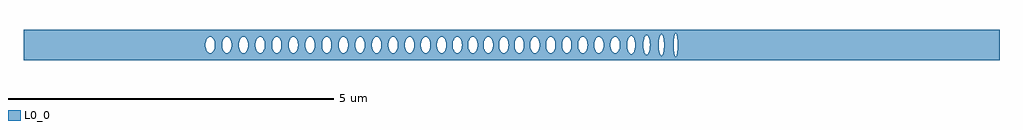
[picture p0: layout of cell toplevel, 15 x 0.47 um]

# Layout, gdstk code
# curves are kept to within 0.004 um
import gdstk
lib = gdstk.Library(unit=1e-6, precision=1e-09)
def P(c, l, *ps):  # polygons
    for p in ps: c.add(gdstk.Polygon(p, *l))
L0_0 = (0, 0)

toplevel = lib.new_cell('toplevel')
P(toplevel, L0_0, [(-4.189,0.032),(-4.178,0.075),(-4.162,0.103),(-4.162,0.234),(-7.5,0.234),(-7.5,-0.016),(-4.703,-0.016),(-4.701,0.032),(-4.69,0.075),(-4.666,0.112),(-4.631,0.128),(-4.604,0.119),(-4.581,0.093),(-4.562,0.039),(-4.559,0),(-4.448,0),(-4.441,0.054),(-4.425,0.093),(-4.402,0.119),(-4.375,0.128),(-4.348,0.119),(-4.329,0.098),(-4.314,0.068),(-4.303,0.016),(-4.306,-0.039),(-4.319,-0.081),(-4.348,-0.119),(-4.375,-0.128),(-4.402,-0.119),(-4.425,-0.093),(-4.441,-0.054),(-4.448,0),(-4.559,0),(-4.562,-0.039),(-4.581,-0.093),(-4.604,-0.119),(-4.631,-0.128),(-4.658,-0.119),(-4.681,-0.093),(-4.697,-0.054),(-4.703,-0.016),(-7.5,-0.016),(-7.5,-0.234),(-4.162,-0.234),(-4.162,-0.103),(-4.187,-0.047),(-4.192,-0.008)],
  [(-3.679,0.016),(-3.669,0.068),(-3.646,0.108),(-3.621,0.125),(-3.59,0.123),(-3.59,0.234),(-4.162,0.234),(-4.162,0.103),(-4.146,0.119),(-4.119,0.128),(-4.084,0.112),(-4.058,0.068),(-4.047,-0.008),(-3.936,-0.008),(-3.931,0.047),(-3.913,0.093),(-3.89,0.119),(-3.863,0.128),(-3.837,0.119),(-3.817,0.098),(-3.802,0.068),(-3.791,0.008),(-3.796,-0.047),(-3.814,-0.093),(-3.837,-0.119),(-3.863,-0.128),(-3.89,-0.119),(-3.91,-0.098),(-3.925,-0.068),(-3.936,-0.008),(-4.047,-0.008),(-4.058,-0.068),(-4.084,-0.112),(-4.119,-0.128),(-4.146,-0.119),(-4.162,-0.103),(-4.162,-0.234),(-3.59,-0.234),(-3.59,-0.123),(-3.621,-0.125),(-3.654,-0.098),(-3.675,-0.047)],
  [(-3.59,0.234),(-3.59,0.123),(-3.569,0.108),(-3.546,0.068),(-3.535,-0.008),(-3.424,-0.008),(-3.421,0.039),(-3.401,0.093),(-3.378,0.119),(-3.352,0.128),(-3.325,0.119),(-3.302,0.093),(-3.284,0.047),(-3.279,0.008),(-3.284,-0.047),(-3.302,-0.093),(-3.325,-0.119),(-3.352,-0.128),(-3.378,-0.119),(-3.398,-0.098),(-3.413,-0.068),(-3.424,-0.008),(-3.535,-0.008),(-3.549,-0.075),(-3.569,-0.108),(-3.59,-0.123),(-3.59,-0.234),(-3.028,-0.234),(-3.028,-0.048),(-3.057,-0.108),(-3.082,-0.125),(-3.105,-0.126),(-3.131,-0.112),(-3.149,-0.087),(-3.168,-0.016),(-3.165,0.039),(-3.152,0.081),(-3.135,0.108),(-3.114,0.123),(-3.091,0.127),(-3.061,0.112),(-3.046,0.093),(-3.028,0.047),(-3.028,0.234)],
  [(-2.374,-0.234),(-2.374,-0.098),(-2.396,-0.047),(-2.401,0),(-2.396,0.047),(-2.374,0.098),(-2.374,0.234),(-3.028,0.234),(-3.024,-0.016),(-2.912,-0.016),(-2.91,0.032),(-2.899,0.075),(-2.875,0.112),(-2.84,0.128),(-2.813,0.119),(-2.79,0.093),(-2.774,0.054),(-2.768,-0.016),(-2.656,-0.016),(-2.654,0.032),(-2.643,0.075),(-2.619,0.112),(-2.584,0.128),(-2.557,0.119),(-2.534,0.093),(-2.512,0.016),(-2.514,-0.032),(-2.525,-0.075),(-2.549,-0.112),(-2.584,-0.128),(-2.611,-0.119),(-2.634,-0.093),(-2.648,-0.061),(-2.656,-0.016),(-2.768,-0.016),(-2.774,-0.054),(-2.79,-0.093),(-2.813,-0.119),(-2.84,-0.128),(-2.867,-0.119),(-2.886,-0.098),(-2.899,-0.075),(-2.912,-0.016),(-3.024,-0.016),(-3.028,-0.234)],
  [(-1.889,0.032),(-1.88,0.068),(-1.858,0.108),(-1.832,0.125),(-1.81,0.126),(-1.81,0.234),(-2.374,0.234),(-2.374,0.098),(-2.355,0.119),(-2.328,0.128),(-2.293,0.112),(-2.267,0.068),(-2.258,0.032),(-2.256,-0.016),(-2.145,-0.016),(-2.142,0.039),(-2.129,0.081),(-2.108,0.112),(-2.073,0.128),(-2.046,0.119),(-2.023,0.093),(-2.005,0.047),(-2,0.008),(-2.005,-0.047),(-2.023,-0.093),(-2.046,-0.119),(-2.073,-0.128),(-2.099,-0.119),(-2.119,-0.098),(-2.134,-0.068),(-2.145,-0.016),(-2.256,-0.016),(-2.272,-0.081),(-2.302,-0.119),(-2.328,-0.128),(-2.342,-0.125),(-2.374,-0.098),(-2.374,-0.234),(-1.81,-0.234),(-1.81,-0.126),(-1.845,-0.119),(-1.868,-0.093),(-1.888,-0.039)],
  [(-1.81,0.234),(-1.81,0.126),(-1.78,0.108),(-1.76,0.075),(-1.751,0.047),(-1.746,-0.008),(-1.64,-0.008),(-1.635,0.047),(-1.617,0.093),(-1.594,0.119),(-1.567,0.128),(-1.541,0.119),(-1.521,0.098),(-1.506,0.068),(-1.495,0.016),(-1.498,-0.039),(-1.511,-0.081),(-1.532,-0.112),(-1.567,-0.128),(-1.594,-0.119),(-1.617,-0.093),(-1.635,-0.047),(-1.64,-0.008),(-1.746,-0.008),(-1.751,-0.047),(-1.769,-0.093),(-1.792,-0.119),(-1.81,-0.126),(-1.81,-0.234),(-1.25,-0.234),(-1.25,-0.039),(-1.26,-0.075),(-1.276,-0.103),(-1.292,-0.119),(-1.319,-0.128),(-1.346,-0.119),(-1.369,-0.093),(-1.391,-0.016),(-1.389,0.032),(-1.378,0.075),(-1.358,0.108),(-1.333,0.125),(-1.305,0.125),(-1.28,0.108),(-1.26,0.075),(-1.25,0.039),(-1.25,0.234)],
  [(-1.249,-0.032),(-1.25,-0.234),(-0.655,-0.234),(-0.655,-0.068),(-0.666,-0.008),(-0.655,0.068),(-0.655,0.234),(-1.25,0.234),(-1.247,0),(-1.147,0),(-1.14,0.054),(-1.124,0.093),(-1.101,0.119),(-1.074,0.128),(-1.048,0.119),(-1.021,0.087),(-1.005,0.039),(-1.002,-0.008),(-0.905,-0.008),(-0.9,0.047),(-0.879,0.098),(-0.846,0.125),(-0.833,0.128),(-0.806,0.119),(-0.786,0.098),(-0.771,0.068),(-0.76,-0.008),(-0.774,-0.075),(-0.786,-0.098),(-0.81,-0.121),(-0.833,-0.128),(-0.859,-0.119),(-0.871,-0.108),(-0.894,-0.068),(-0.905,-0.008),(-1.002,-0.008),(-1.005,-0.039),(-1.021,-0.087),(-1.048,-0.119),(-1.074,-0.128),(-1.101,-0.119),(-1.124,-0.093),(-1.14,-0.054),(-1.147,0),(-1.247,0)],
  [(-0.19,0.016),(-0.18,0.068),(-0.165,0.098),(-0.145,0.119),(-0.119,0.128),(-0.119,0.234),(-0.655,0.234),(-0.655,0.068),(-0.64,0.098),(-0.62,0.119),(-0.593,0.128),(-0.567,0.119),(-0.547,0.098),(-0.532,0.068),(-0.522,0.024),(-0.522,-0.016),(-0.428,-0.016),(-0.425,0.039),(-0.412,0.081),(-0.391,0.112),(-0.356,0.128),(-0.329,0.119),(-0.306,0.093),(-0.29,0.054),(-0.283,0),(-0.29,-0.054),(-0.306,-0.093),(-0.329,-0.119),(-0.356,-0.128),(-0.382,-0.119),(-0.402,-0.098),(-0.417,-0.068),(-0.428,-0.016),(-0.522,-0.016),(-0.526,-0.047),(-0.544,-0.093),(-0.567,-0.119),(-0.584,-0.126),(-0.62,-0.119),(-0.64,-0.098),(-0.655,-0.068),(-0.655,-0.234),(-0.119,-0.234),(-0.119,-0.128),(-0.153,-0.112),(-0.177,-0.075),(-0.189,-0.032)],
  [(0.288,0.016),(0.301,0.075),(0.333,0.119),(0.36,0.128),(0.373,0.125),(0.395,0.112),(0.409,0.093),(0.409,0.234),(-0.119,0.234),(-0.119,0.128),(-0.092,0.119),(-0.069,0.093),(-0.051,0.047),(-0.046,-0.008),(0.047,-0.008),(0.052,0.047),(0.07,0.093),(0.093,0.119),(0.119,0.128),(0.146,0.119),(0.166,0.098),(0.183,0.061),(0.192,0.008),(0.187,-0.047),(0.169,-0.093),(0.146,-0.119),(0.119,-0.128),(0.093,-0.119),(0.073,-0.098),(0.058,-0.068),(0.047,-0.008),(-0.046,-0.008),(-0.057,-0.068),(-0.072,-0.098),(-0.092,-0.119),(-0.119,-0.128),(-0.119,-0.234),(0.409,-0.234),(0.409,-0.093),(0.395,-0.112),(0.369,-0.126),(0.346,-0.125),(0.325,-0.112),(0.296,-0.061)],
  [(1.025,0.016),(1.035,0.068),(1.035,0.234),(0.409,0.234),(0.409,0.093),(0.429,0.039),(0.432,-0.008),(0.531,-0.008),(0.536,0.047),(0.554,0.093),(0.577,0.119),(0.604,0.128),(0.63,0.119),(0.653,0.093),(0.671,0.047),(0.676,-0.008),(0.777,-0.008),(0.782,0.047),(0.8,0.093),(0.823,0.119),(0.85,0.128),(0.876,0.119),(0.896,0.098),(0.911,0.068),(0.922,0.008),(0.919,-0.039),(0.899,-0.093),(0.876,-0.119),(0.85,-0.128),(0.823,-0.119),(0.8,-0.093),(0.782,-0.047),(0.777,-0.008),(0.676,-0.008),(0.671,-0.047),(0.653,-0.093),(0.63,-0.119),(0.604,-0.128),(0.577,-0.119),(0.557,-0.098),(0.542,-0.068),(0.531,-0.008),(0.432,-0.008),(0.427,-0.047),(0.409,-0.093),(0.409,-0.234),(1.035,-0.234),(1.035,-0.068),(1.025,-0.024)],
  [(1.047,0.093),(1.062,0.112),(1.083,0.125),(1.115,0.123),(1.143,0.098),(1.158,0.068),(1.169,-0.008),(1.271,-0.008),(1.276,0.047),(1.297,0.098),(1.325,0.123),(1.357,0.125),(1.382,0.108),(1.402,0.075),(1.414,0.032),(1.416,-0.008),(1.405,-0.068),(1.39,-0.098),(1.37,-0.119),(1.343,-0.128),(1.317,-0.119),(1.297,-0.098),(1.282,-0.068),(1.271,-0.008),(1.169,-0.008),(1.164,-0.047),(1.146,-0.093),(1.131,-0.112),(1.11,-0.125),(1.097,-0.128),(1.07,-0.119),(1.05,-0.098),(1.035,-0.068),(1.035,-0.234),(1.606,-0.234),(1.606,-0.125),(1.579,-0.125),(1.55,-0.103),(1.529,-0.061),(1.521,-0.016),(1.527,0.054),(1.543,0.093),(1.566,0.119),(1.593,0.128),(1.606,0.125),(1.606,0.234),(1.035,0.234),(1.035,0.068)],
  [(1.662,-0.039),(1.639,-0.098),(1.62,-0.119),(1.606,-0.125),(1.606,-0.234),(2.113,-0.234),(2.113,-0.112),(2.102,-0.135),(2.084,-0.153),(2.071,-0.153),(2.058,-0.143),(2.037,-0.098),(2.025,-0.019),(2.031,0.074),(2.052,0.135),(2.067,0.151),(2.084,0.153),(2.102,0.135),(2.113,0.112),(2.113,0.234),(1.606,0.234),(1.606,0.125),(1.632,0.108),(1.649,0.081),(1.662,0.039),(1.664,-0.018),(1.778,-0.018),(1.782,0.052),(1.792,0.09),(1.81,0.123),(1.832,0.14),(1.848,0.14),(1.867,0.127),(1.883,0.103),(1.895,0.068),(1.902,0.018),(1.895,-0.068),(1.877,-0.114),(1.848,-0.14),(1.821,-0.134),(1.8,-0.108),(1.782,-0.052),(1.778,-0.018),(1.664,-0.018)],
  [(2.127,-0.038),(2.113,-0.112),(2.113,-0.234),(7.5,-0.234),(7.5,0.234),(2.113,0.234),(2.113,0.112),(2.127,0.048),(2.128,-0.021),(2.262,-0.021),(2.271,0.106),(2.281,0.141),(2.301,0.167),(2.312,0.164),(2.322,0.151),(2.338,0.098),(2.345,-0.023),(2.492,-0.023),(2.499,0.115),(2.508,0.158),(2.522,0.18),(2.53,0.177),(2.541,0.152),(2.554,0.056),(2.555,-0.034),(2.548,-0.115),(2.539,-0.158),(2.526,-0.18),(2.514,-0.171),(2.505,-0.146),(2.492,-0.023),(2.345,-0.023),(2.332,-0.122),(2.322,-0.151),(2.306,-0.167),(2.293,-0.162),(2.277,-0.129),(2.262,-0.021),(2.128,-0.021)])

lib.write_gds('toplevel.gds')
